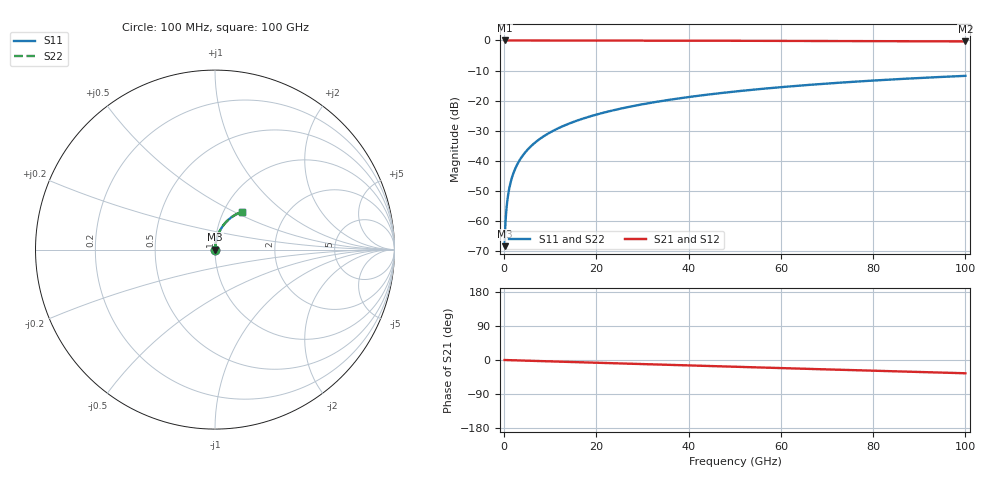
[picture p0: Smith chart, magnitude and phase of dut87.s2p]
! Touchstone file exported from HFSS 2026.1.0
!  File:  C:/ffzhzh/LocalFiles/Ansys_Project_Files/temp_train_TSV_87_1783505541_41296.aedt
!  Generated:  06:13:51 PM Jul  8, 2026
!  Design:  TSV
!  Project:  temp_train_TSV_87_1783505541_41296
! Variables:
!  h_bsmrdl = 2um
!  h_ox = 20um
!  h_rdl = 5um
!  h_sub = 57.17um
!  h_tmrdl = 5um
!  h_tsv = 57.17um
!  h_via = 3um
!  l_bsmrdl = 300um
!  l_sub = 412.86um
!  l_tmrdl = 200um
!  m_sub = 200um
!  pitch = 51.08um
!  r_tsv = 6.43um
!  s_tmrdl = 10um
!  w_bsmrdl = 18um
!  w_sub = 500um
!  w_tmrdl = 12um
!  x_tsv_center1 = 206um
!  x_tsv_center2 = 524um
!  x_tsv_center3 = 736um
!  x_tsv_center4 = 1054um
!  x_tsv_center5 = 1266um
!  x_tsv_center6 = 1584um
# GHz S MA R 50.000000
! Terminal data exported
! Port[1] = TSV1_1_T1
! Port[2] = TSV1_1_T2
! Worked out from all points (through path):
!   1000 points, 100 MHz to 100 GHz, reference 50 ohm
!   highest |S21| = 0.00 dB at 100 MHz (marker M1); lowest = -0.3 dB at 100 GHz (marker M2)
!   group delay of S21, straight-line fit = 973 fs
!   lowest |S11| = -68.4 dB at 100 MHz (marker M3), VSWR 1.00, Z = 50 + j0.0328 ohm
!   |S11| at or under -10 dB: start of sweep to end of sweep
!   |S22| runs from -68.4 to -11.8 dB; largest |S21 - S12| = 4.4e-15
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0.1  0.0003802 59.5  0.9998 -0.0  0.9998 -0.0  0.0003802 59.5
! Gamma 0 0 0 0
! Port Impedance 50 0 50 0
0.4  0.001289 79.8  0.9998 -0.2  0.9998 -0.2  0.001289 79.8
0.7  0.002213 83.3  0.9997 -0.3  0.9997 -0.3  0.002213 83.3
0.8  0.002521 83.9  0.9997 -0.3  0.9997 -0.3  0.002521 83.9
1  0.003137 84.6  0.9997 -0.4  0.9997 -0.4  0.003137 84.6
1.3  0.004057 85.2  0.9997 -0.5  0.9997 -0.5  0.004057 85.2
1.7  0.005275 85.6  0.9996 -0.6  0.9996 -0.6  0.005275 85.6
2.3  0.007083 85.8  0.9996 -0.8  0.9996 -0.8  0.007083 85.8
3  0.009168 85.8  0.9995 -1.1  0.9995 -1.1  0.009168 85.8
3.8  0.01153 85.8  0.9994 -1.4  0.9994 -1.4  0.01153 85.8
4.8  0.01447 85.7  0.9993 -1.8  0.9993 -1.8  0.01447 85.7
6  0.01799 85.5  0.9991 -2.2  0.9991 -2.2  0.01799 85.5
8.8  0.02618 84.9  0.9988 -3.2  0.9988 -3.2  0.02618 84.9
12.4  0.03665 83.9  0.9983 -4.5  0.9983 -4.5  0.03665 83.9
16.8  0.04936 82.5  0.9976 -6.1  0.9976 -6.1  0.04936 82.5
24.2  0.07053 80.1  0.9961 -8.7  0.9961 -8.7  0.07053 80.1
33.4  0.09641 77.0  0.9937 -12.0  0.9937 -12.0  0.09641 77.0
41.2  0.1179 74.3  0.9912 -14.8  0.9912 -14.8  0.1179 74.3
50.1  0.1417 71.3  0.9879 -17.9  0.9879 -17.9  0.1417 71.3
66.7  0.1839 65.6  0.9806 -23.7  0.9806 -23.7  0.1839 65.6
83.4  0.223 60.0  0.9722 -29.4  0.9722 -29.4  0.223 60.0
100  0.258 54.4  0.9634 -35.0  0.9634 -35.0  0.258 54.4
